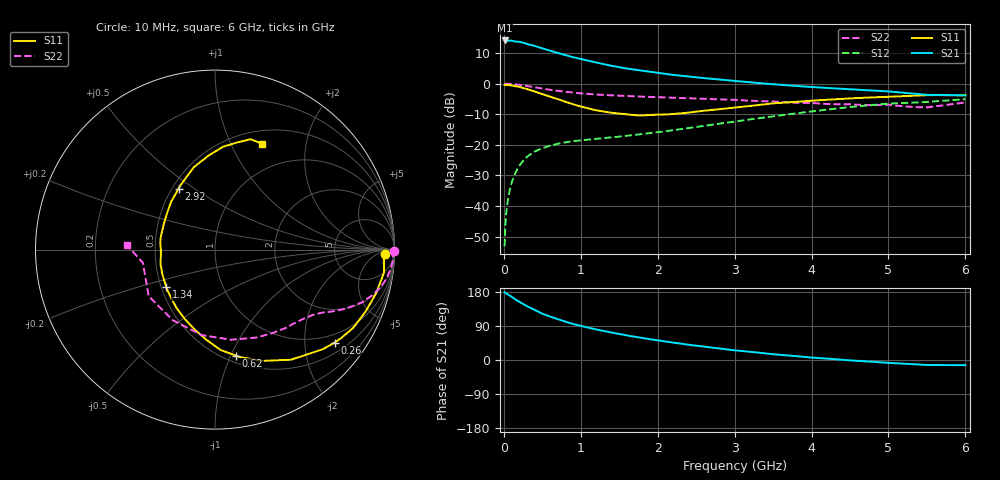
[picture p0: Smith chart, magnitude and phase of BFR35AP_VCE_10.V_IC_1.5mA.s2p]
! Infineon Technologies  Discrete & RF Semiconductors
! BFR35AP
! VCE =  10. V,  IC =  1.5 mA
! Common Emitter S-Parameters:  Nov 2015
# GHz  S  MA  R  50
!  f  S11  S21  S12  S22
! GHz  MAG  ANG  MAG  ANG  MAG  ANG  MAG  ANG
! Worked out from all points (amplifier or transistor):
!   210 points, 10 MHz to 6 GHz, reference 50 ohm
!   highest |S21| = 14.1 dB at 10 MHz (marker M1)
!   |S21| within 3 dB of that: start of sweep to 554.8 MHz
!   unconditionally stable (mu >= 1): 1.325 GHz to 3.34 GHz
!   at 185 MHz: K = 0.18, MSG = 20.6 dB, |S12| = -27.6 dB
!   at 1.52 GHz: K = 1.07, MAG = 9.6 dB, |S12| = -17.3 dB
!   at 6 GHz: K = 0.95, MSG = 0.6 dB, |S12| = -5.1 dB
!   S11 on the Smith chart (normalised r, x): 10 MHz: 30, -16; 260 MHz: 0.76, -2.73; 620 MHz: 0.56, -1.05; 1.34 GHz: 0.53, -0.25; 2.92 GHz: 0.54, +0.43; 6 GHz: 0.65, +1.32
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0.01  0.95 -1.6  5.066 178.8  0.0022 91.3  0.9988 -0.5
0.02  0.9414 -3.0  4.935 177.1  0.005 87.5  0.9876 -1.1
0.03  0.9439 -4.5  4.965 175.9  0.0073 85.8  0.9896 -1.7
0.05  0.9509 -7.6  5.032 173.5  0.0118 84.3  0.9941 -3.0
0.08  0.9361 -12.2  5.027 169.6  0.0189 81.9  0.989 -4.7
0.1  0.9297 -15.3  5.037 167.0  0.0236 81.1  0.9861 -5.9
0.18  0.8919 -26.7  4.828 156.1  0.0409 73.9  0.963 -10.4
0.26  0.8445 -37.8  4.627 146.5  0.0561 67.8  0.9307 -14.3
0.4  0.7455 -55.4  4.136 132.2  0.0775 59.6  0.872 -19.6
0.5  0.6734 -67.1  3.77 122.2  0.0877 54.7  0.827 -22.5
0.62  0.6022 -78.8  3.389 113.3  0.098 50.7  0.7843 -25.1
0.8  0.5046 -95.5  2.901 101.1  0.1097 46.3  0.7347 -28.0
1.02  0.4151 -115.2  2.488 88.8  0.1186 44.4  0.6886 -30.8
1.34  0.3427 -142.1  2.023 74.9  0.1301 44.3  0.6477 -34.7
1.6  0.3148 -164.2  1.757 64.6  0.1404 45.4  0.6266 -37.9
2.02  0.3107 165.2  1.486 51.2  0.1621 48.5  0.5982 -44.2
2.92  0.3956 120.9  1.13 27.6  0.2317 50.9  0.5452 -62.7
3.1  0.418 115.1  1.076 23.7  0.2491 50.2  0.5325 -67.7
4.1  0.5347 92.0  0.863 5.1  0.3627 42.6  0.4718 -103.3
5.1  0.6162 77.0  0.726 -8.6  0.4757 27.7  0.4367 -149.5
5.5  0.6464 72.1  0.655 -13.2  0.5005 20.3  0.4083 -169.6
6  0.6454 66.3  0.641 -13.7  0.5568 15.4  0.4924 177.0
